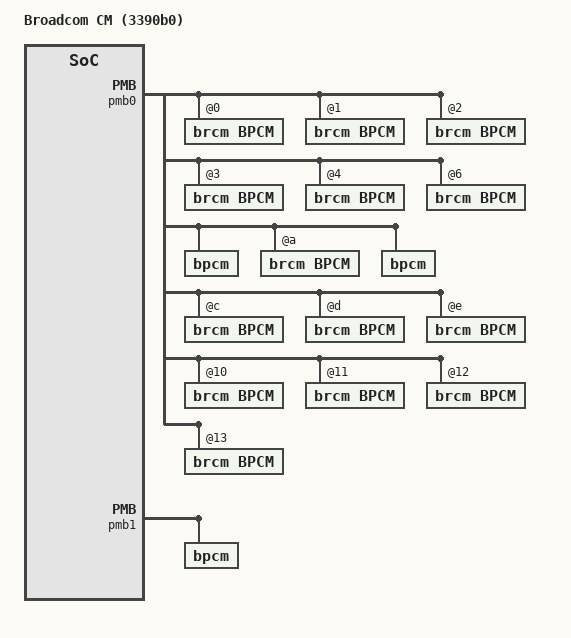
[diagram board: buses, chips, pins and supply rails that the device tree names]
/dts-v1/;

/ {
	model = "Broadcom CM (3390b0)";
	compatible = "brcm,bcm3390b0", "brcm,brcmstb";
	subsystem = "rg";
	#address-cells = <0x2>;
	#size-cells = <0x2>;
	interrupt-parent = <0x1>;

	identifier@0 {
			    /* chip id    mfg id     park       */
		chipid_reg = < 0x20404000 0x204e6120 0x20410068 >;
		chipid_msk = < 0xffffffff 0x0000e000 0x00000001 >;
		chipid_val = < 0x33900010 0x0000c000 0x00000001 >;
			     /* VCMS */
		boardid_msk = < 0xff >;
		boardid_val = < 0x82 >;
	};

	identifier@1 {
			    /* chip id    mfg id     park       */
		chipid_reg = < 0x20404000 0x204e6120 0x20410068 >;
		chipid_msk = < 0xffffffff 0x0000f000 0x00000001 >;
		chipid_val = < 0x33900010 0x00008000 0x00000001 >;
			     /* VCMS */
		boardid_msk = < 0xff >;
		boardid_val = < 0x82 >;
	};
};

/include/ "rg.3390b0-bolt.dtsi"
/include/ "rg.3390-base.dtsi"

/********************************************************************
 * any nodes that appear below are platform specific additions and
 * replacements.
 * The dtc will add or replace any properties in the nodes
 * below to the same nodes that appear in include files above.
 * If the property does not exist in the node above it will be added.
 * If the property does exist it will replace it.
 ********************************************************************/
&pmb0 {
	bpcm@0x0 {
		compatible = "brcm,bpcm";
		reg = <0x0>;
		dev-name = "bpcm-dtp";
		zones = <3>;
		zone-init-pwr = <0x0>;
	};

	bpcm@0x1 {
		compatible = "brcm,bpcm";
		reg = <0x1>;
		dev-name = "bpcm-dfap";
		zones = <3>;
		zone-init-pwr = <0x0>;
	};

	bpcm@0x2 {
		compatible = "brcm,bpcm";
		reg = <0x2>;
		dev-name = "bpcm-d3dsmac32";
		zones = <6>;
		zone-init-pwr = <0x0>;
	};

	bpcm@0x3 {
		compatible = "brcm,bpcm";
		reg = <0x3>;
		dev-name = "bpcm-dsmacofda";
		zones = <1>;
		zone-init-pwr = <0x0>;
	};

	bpcm@0x4 {
		compatible = "brcm,bpcm";
		reg = <0x4>;
		dev-name = "bpcm-dsmacofdb";
		zones = <1>;
		zone-init-pwr = <0x0>;
	};

	bpcm_utp: bpcm@0x5 {
		status = "disabled";	/* Causes bus hang on B0 so disable for all */
		compatible = "brcm,bpcm";
		reg = <0x5>;
		dev-name = "bpcm-utp";
		zones = <5>;
		zone-init-pwr = <0x0>;
	};

	bpcm@0x6 {
		compatible = "brcm,bpcm";
		reg = <0x6>;
		dev-name = "bpcm-periph";
		zones = <3>;
		zone-init-pwr = <0x0>;
	};

	bpcm@0x7 {
		zone-init-pwr = <0x0>;
	};

	bpcm@0xa {
		compatible = "brcm,bpcm";
		reg = <0xa>;
		dev-name = "bpcm-apm";
		zones = <6>;
		zone-init-pwr = <0x0>;
	};

	bpcm@0xb {
		zone-init-pwr = <0x0>;
	};

	bpcm@0xc {
		compatible = "brcm,bpcm";
		reg = <0xc>;
		dev-name = "bpcm-usmac";
		zones = <13>;
		zone-init-pwr = <0x0>;
	};

	bpcm@0xd {
		compatible = "brcm,bpcm";
		reg = <0xd>;
		dev-name = "bpcm-tc8x";
		zones = <9>;
		zone-init-pwr = <0x0>;
	};

	bpcm@0xe {
		compatible = "brcm,bpcm";
		reg = <0xe>;
		dev-name = "bpcm-tcofdm";
		zones = <5>;
		zone-init-pwr = <0x0>;
	};

	bpcm@0x10 {
		compatible = "brcm,bpcm";
		reg = <0x10>;
		dev-name = "bpcm-mips";
		zones = <1>;
		zone-init-pwr = <0x0>;
	};

	bpcm@0x11 {
		compatible = "brcm,bpcm";
		reg = <0x11>;
		dev-name = "bpcm-ustop";
		zones = <1>;
		zone-init-pwr = <0x0>;
	};

	bpcm@0x12 {
		compatible = "brcm,bpcm";
		reg = <0x12>;
		dev-name = "bpcm-leap";
		zones = <1>;
		zone-init-pwr = <0x0>;
	};


	bpcm@0x13 {
		compatible = "brcm,bpcm";
		reg = <0x13>;
		dev-name = "bpcm-emc";
		zones = <1>;
		zone-init-pwr = <0x0>;
	};
};

&pmb1 {
	bpcm@0x0 {
		zone-init-pwr = <0x0>;
	};
};

&cpu1 {
	status = "disabled";
};

&pcie0 {
	status = "disabled";
};

&pcie1 {
	status = "disabled";
};

&pcie2 {
	status = "disabled";
};

&usb_phy0 {
	status = "disabled";
};

&ehci_v2_0 {
	status = "disabled";
};

&ohci_v2_0 {
	status = "disabled";
};

&xhci_v2_0 {
	status = "disabled";
};

&usb_phy1 {
	status = "disabled";
};

&ehci_v2_1 {
	status = "disabled";
};

&ohci_v2_1 {
	status = "disabled";
};

&xhci_v2_1 {
	status = "disabled";
};

&bdc_v2_1 {
	status = "disabled";
};

&usb0 {
	status = "disabled";
};

&ehci0 {
	status = "disabled";
};

&ohci0 {
	status = "disabled";
};

&xhci0 {
	status = "disabled";
};

&usb1 {
	status = "disabled";
};

&ehci1 {
	status = "disabled";
};

&ohci1 {
	status = "disabled";
};

&xhci1 {
	status = "disabled";
};

&bdc1 {
	status = "disabled";
};

&sdhci0 {
	status = "disabled";
};

&sdhci1 {
	status = "disabled";
};

&spi0 {
	status = "disabled";
};

&spi1 {
	status = "disabled";
};

&rf4ce {
	status = "disabled";
	/* Old BOLT versions will set the above status to "ok" for all platforms,
	so add another property for new software images to discern whether
	status property is to be obeyed. Only valid platforms have this new property
	set correctly to "true". */
	trust-status = "false";
};

&pwm0 {
	status = "disabled";
};

&pwm1 {
	status = "disabled";
};

&fpm {
	status = "disabled";
};

&dqm {
	status = "disabled";
};

&rpcrgcm {
	status = "disabled";
};

&rpcsvmcm {
	status = "disabled";
};

&qchan0 {
	status = "disabled";
};

&qchan1 {
	status = "disabled";
};

&rfapskb {
	status = "disabled";
};

&mdqmrx0 {
	status = "disabled";
};

&mdqmrx1 {
	status = "disabled";
};

&mdqmrx2 {
	status = "disabled";
};

&mdqmtx {
	status = "disabled";
};

&priv0 {
	status = "disabled";
};

&eth0 {
	status = "disabled";
};

&eth1 {
	status = "disabled";
};

&eth2 {
	status = "disabled";
};

&eth3 {
	status = "disabled";
};

&cm0 {
	status = "disabled";
};

&miimdiomux {
	status = "disabled";
};

&unimac_mdio {
	status = "disabled";
};

&ethsw {
	status = "disabled";
};

&runner {
	status = "disabled";
};

&suntop_pmx {
	status = "disabled";
};

&i2c {
	status = "disabled";
};

&wbid {
	status = "disabled";
};

&fpm {
	reg = <0x0 0x06000000 0x0 0x01000000>,	/* Free Pool 0	*/
	      <0x0 0xd3a00000 0x0 0x30133>,	/* Registers	*/
	      <0x0 0x07000000 0x0 0x01000000>;	/* Free Pool 1	*/
};

&runner {
	reg = <0x0 0xd5000000 0x0 0x000fc460>,	/* Registers			*/
	      <0x0 0x00000000 0x0 0x00000000>,	/* Runner Extra Memory 0	*/
	      <0x0 0x00000000 0x0 0x00000000>,	/* Runner Extra Memory 1	*/
	      <0x0 0x00000000 0x0 0x00000000>;	/* Runner NAT Cache		*/
};

&rsvd_rg_memc0 {
	reg = <0x0 0x02000000 0x0 0x03400000>, /* CM + leap */
	      <0x0 0x06000000 0x0 0x02000000>; /* FPM + cm extra */
};

&bassist {
	    tp1 = < 0x05000000 0x00400000 >; //start, size
	    cm_xfer = < 0x05000000 0x20000 0x2 >; //start, size, count
	    leap = < 0x04f00000 0x100000>; //start, size
	    arm_boot_rom = <0x05040000 0x00010000>; //start, size
	    cm_atw = < 0x0 0x02000000 0x02000000 0x0 0x4807FFFC 0x0 0x0 0x0 >; //index, start, size, destination, client0-3
	    cm_atw_extra = < 0x3 0x04000000 0x01000000 0x02000000 0x4807FFFC 0x0 0x0 0x0 >; //index, start, size, destination, client0-3
	    cm_dsp_atw = < 0x1 0x05000000 0x00400000 0x07c00000 0x4804FFFC 0x0 0x0 0x0 >; //index, start, size, destination, client0-3
	    cm_boot_atw = < 0x2 0x05050000 0x10000 0x1fc00000 0x40000 0x0 0x0 0x0 >; //index, start, size, destination, client0-3
	    cm_boot_atw_extra = < 0x4 0x04e00000 0x00200000 0x03e00000 0x40000 0x0 0x0 0x0 >; //index, start, size, destination, client0-3
};
